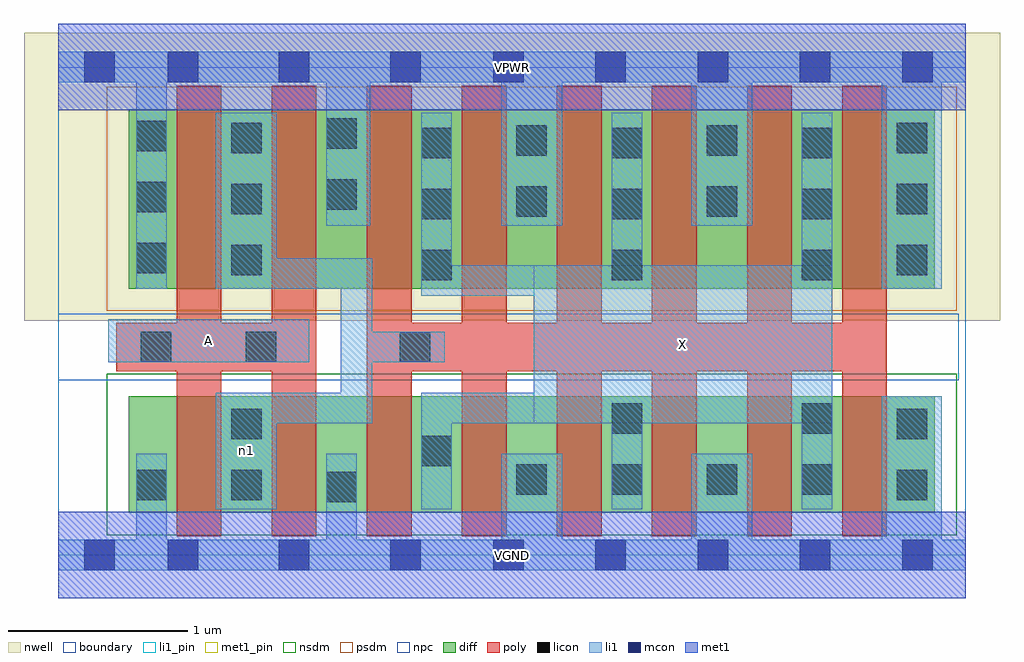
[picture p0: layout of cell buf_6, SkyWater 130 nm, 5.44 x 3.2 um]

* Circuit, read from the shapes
.subckt buf_6 A VGND VPWR X n1
XM1 n1 A VGND VSUBS sky130_fd_pr__nfet_01v8 w=0.65 l=0.25 m=2
XM2 X n1 VGND VSUBS sky130_fd_pr__nfet_01v8 w=0.65 l=0.25 m=6
XM3 n1 A VPWR n2 sky130_fd_pr__pfet_01v8 w=1 l=0.25 m=2
XM4 X n1 VPWR n2 sky130_fd_pr__pfet_01v8 w=1 l=0.25 m=6
.ends

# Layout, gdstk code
import gdstk
lib = gdstk.Library(unit=1e-6, precision=1e-09)
def R(c, l, rs):  # rectangles x0, y0, x1, y1
    for r in rs: c.add(gdstk.rectangle(r[:2], r[2:], *l))
def A(c, l, x, y, w, h, nx, ny, dx, dy):  # array of equal rectangles
    R(c, l, [(x+i*dx, y+j*dy, x+i*dx+w, y+j*dy+h) for i in range(nx) for j in range(ny)])
nwell = (64, 20)
diff = (65, 20)
poly = (66, 20)
licon = (66, 44)
li1_pin = (67, 16)
li1 = (67, 20)
mcon = (67, 44)
met1_pin = (68, 16)
met1 = (68, 20)
nsdm = (93, 44)
psdm = (94, 20)
npc = (95, 20)
boundary = (235, 4)

buf_6 = lib.new_cell('buf_6')
R(buf_6, nwell, [(-0.19,1.305,5.25,2.91), (0,1.305,5.06,2.91)])
R(buf_6, diff, [(0.395,0.235,4.885,0.885), (0.395,1.485,4.885,2.485)])
A(buf_6, poly, 0.66, 0.105, 0.25, 2.51, 8, 1, 0.53, 0)
R(buf_6, poly, [(0.325,1.025,1.44,1.295), (1.72,1.025,4.62,1.295)])
A(buf_6, licon, 2.555, 0.335, 0.17, 0.17, 4, 1, 0.53, 0)
A(buf_6, licon, 2.025, 1.53, 0.17, 0.17, 3, 3, 1.06, 0.34)
A(buf_6, licon, 0.965, 1.56, 0.17, 0.17, 1, 3, 0, 0.34)
A(buf_6, licon, 4.675, 1.56, 0.17, 0.17, 1, 3, 0, 0.34)
A(buf_6, licon, 0.435, 1.57, 0.17, 0.17, 1, 3, 0, 0.34)
R(buf_6, licon, [(1.495,0.295,1.665,0.465), (0.435,0.305,0.605,0.475), (0.965,0.305,1.135,0.475), (4.675,0.305,4.845,0.475), (2.025,0.495,2.195,0.665), (0.965,0.645,1.135,0.815), (4.675,0.645,4.845,0.815), (3.085,0.675,3.255,0.845), (4.145,0.675,4.315,0.845), (0.46,1.075,0.63,1.245), (1.045,1.075,1.215,1.245), (1.905,1.075,2.075,1.245), (2.555,1.885,2.725,2.055), (3.615,1.885,3.785,2.055), (1.495,1.925,1.665,2.095), (2.555,2.225,2.725,2.395), (3.615,2.225,3.785,2.395), (1.495,2.265,1.665,2.435)])
R(buf_6, li1_pin, [(2.65,0.735,4.315,1.615), (0.28,1.075,1.4,1.315)])
R(buf_6, li1, [(0,-0.085,5.06,0.085), (0.435,-0.085,0.605,0.565), (1.495,-0.085,1.665,0.565), (2.47,-0.085,2.81,0.565), (3.53,-0.085,3.87,0.565), (4.59,-0.085,4.925,0.885), (0.88,0.255,1.22,0.905), (2.025,0.255,2.195,0.905), (3.085,0.255,3.255,2.465), (4.145,0.255,4.315,2.465), (0.88,0.735,1.75,0.905), (1.575,0.735,1.75,1.655), (2.025,0.735,4.315,0.905), (2.65,0.735,4.315,1.615), (0.28,1.075,1.4,1.315), (1.575,1.075,2.155,1.245), (2.025,1.445,4.315,1.615), (2.025,1.445,2.195,2.465), (0.435,1.485,0.605,2.805), (0.88,1.485,1.75,1.655), (0.88,1.485,1.22,2.465), (4.59,1.485,4.925,2.805), (1.495,1.835,1.74,2.805), (2.47,1.835,2.81,2.805), (3.53,1.835,3.87,2.805), (0,2.635,5.06,2.805)])
A(buf_6, mcon, 0.61, -0.085, 0.17, 0.17, 3, 2, 0.62, 2.72)
A(buf_6, mcon, 2.425, -0.085, 0.17, 0.17, 5, 2, 0.57, 2.72)
R(buf_6, mcon, [(0.145,-0.085,0.315,0.085), (0.145,2.635,0.315,2.805)])
R(buf_6, met1_pin, [(0,-0.24,5.06,0.24), (0,2.48,5.06,2.96)])
R(buf_6, met1, [(0,-0.24,5.06,0.24), (0,2.48,5.06,2.96)])
R(buf_6, nsdm, [(0.27,0.11,5.01,1.01)])
R(buf_6, psdm, [(0.27,1.36,5.01,2.61)])
R(buf_6, npc, [(0,0.975,5.02,1.345)])
R(buf_6, boundary, [(0,0,5.06,2.72)])
buf_6.add(gdstk.Label('A', (0.84,1.195), layer=67, texttype=5))
buf_6.add(gdstk.Label('X', (3.482,1.175), layer=67, texttype=5))
buf_6.add(gdstk.Label('n1', (1.05,0.58), layer=67, texttype=5))
buf_6.add(gdstk.Label('VPWR', (2.53,2.72), layer=68, texttype=5))
buf_6.add(gdstk.Label('VGND', (2.53,0), layer=68, texttype=5))
buf_6.add(gdstk.Label('A', (0.84,1.195), layer=67, texttype=16))
buf_6.add(gdstk.Label('X', (3.482,1.175), layer=67, texttype=16))
buf_6.add(gdstk.Label('VPWR', (2.53,2.72), layer=68, texttype=16))
buf_6.add(gdstk.Label('VGND', (2.53,0), layer=68, texttype=16))

lib.write_gds('buf_6.gds')
